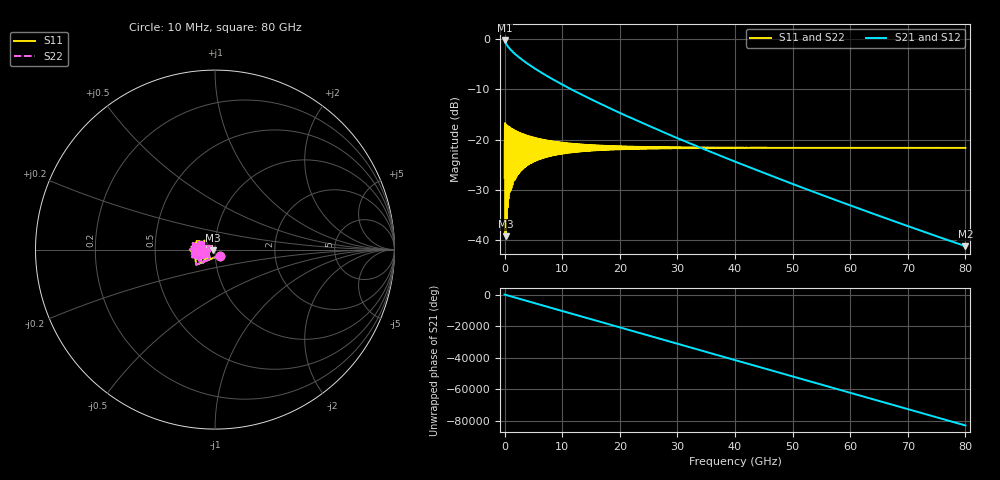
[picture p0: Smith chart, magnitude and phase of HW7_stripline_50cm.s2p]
! Created Wed Mar 27 22:37:47 2024
# hz S ma R 50
! 2 Port Network Data from SP1.SP block
! freq  magS11  angS11  magS21  angS21  magS12  angS12  magS22  angS22
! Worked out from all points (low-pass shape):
!   8000 points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, 10 MHz to 80 GHz, reference 50 ohm
!   highest |S21| = -0.29 dB at 10 MHz (marker M1); lowest = -41.2 dB at 80 GHz (marker M2)
!   |S21| within 3 dB of the highest: start of sweep to 2.12 GHz
!   lowest |S11| = -39.2 dB at 170 MHz (marker M3), VSWR 1.02, Z = 49 - j0.337 ohm
!   |S11| at or under -10 dB: start of sweep to end of sweep
!   |S22| runs from -39.2 to -16.7 dB; largest |S21 - S12| = 0
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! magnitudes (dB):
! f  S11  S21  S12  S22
! 10 MHz  -27.6  -0.3  -0.3  -27.6
! 170 MHz  -39.2  -0.6  -0.6  -39.2
! 420 MHz  -17.2  -1.2  -1.2  -17.2
! 520 MHz  -30.4  -1.3  -1.3  -30.4
! 770 MHz  -17.5  -1.8  -1.8  -17.5
! 860 MHz  -30.5  -1.8  -1.8  -30.5
! 940 MHz  -17.6  -2.0  -2.0  -17.6
! 1.03 GHz  -30.2  -2.1  -2.1  -30.2
! 1.11 GHz  -17.7  -2.2  -2.2  -17.7
! 1.2 GHz  -29.6  -2.3  -2.3  -29.6
! 1.29 GHz  -17.9  -2.4  -2.4  -17.9
! 1.38 GHz  -28.2  -2.5  -2.5  -28.2
! 1.46 GHz  -18.0  -2.6  -2.6  -18.0
! 1.55 GHz  -28.2  -2.7  -2.7  -28.2
! 1.63 GHz  -18.1  -2.8  -2.8  -18.1
! 5.09 GHz  -19.6  -5.8  -5.8  -19.6
! 13.35 GHz  -22.1  -11.0  -11.0  -22.1
! 26.68 GHz  -21.7  -18.1  -18.1  -21.7
! 40.01 GHz  -21.6  -24.4  -24.4  -21.6
! 53.34 GHz  -21.7  -30.3  -30.3  -21.7
! 66.67 GHz  -21.6  -35.8  -35.8  -21.6
! 80 GHz  -21.7  -41.2  -41.2  -21.7
